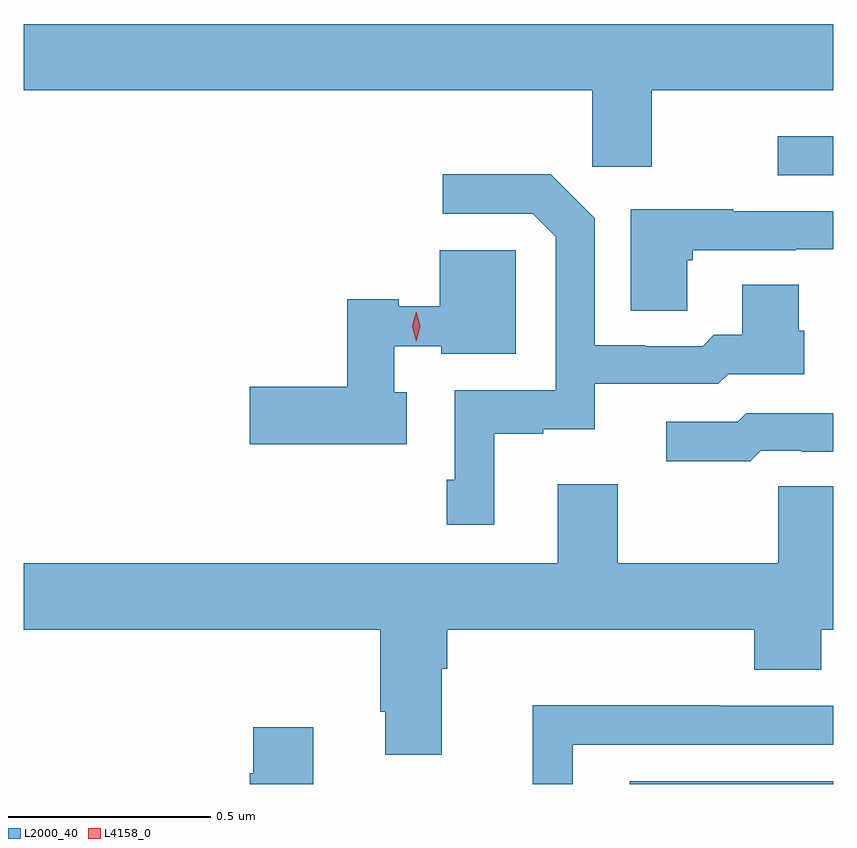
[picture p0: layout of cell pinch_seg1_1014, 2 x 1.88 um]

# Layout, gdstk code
import gdstk
lib = gdstk.Library(unit=1e-6, precision=1e-09)
def R(c, l, rs):  # rectangles x0, y0, x1, y1
    for r in rs: c.add(gdstk.rectangle(r[:2], r[2:], *l))
def P(c, l, *ps):  # polygons
    for p in ps: c.add(gdstk.Polygon(p, *l))
L2000_40 = (2000, 40)
L4158_0 = (4158, 0)

pinch_seg1_1014 = lib.new_cell('pinch_seg1_1014')
R(pinch_seg1_1014, L2000_40, [(311.907,577.991,312.41,577.998), (312.273,579.495,312.41,579.591)])
P(pinch_seg1_1014, L2000_40, [(311.961,579.704),(312.41,579.704),(312.41,579.868),(310.41,579.868),(310.41,579.704),(311.815,579.704),(311.815,579.515),(311.961,579.515)],
  [(311.572,578.856),(311.693,578.856),(311.693,578.867),(311.821,578.867),(311.821,578.979),(312.126,578.979),(312.15,579.003),(312.338,579.003),(312.338,579.11),(312.325,579.11),(312.325,579.224),(312.185,579.224),(312.185,579.1),(312.115,579.1),(312.087,579.072),(311.945,579.072),(311.945,579.075),(311.82,579.075),(311.82,579.388),(311.712,579.497),(311.445,579.497),(311.445,579.399),(311.667,579.399),(311.724,579.342),(311.724,578.964),(311.475,578.964),(311.475,578.743),(311.455,578.743),(311.455,578.631),(311.572,578.631)],
  [(312.049,579.285),(312.063,579.285),(312.063,579.309),(312.317,579.309),(312.317,579.312),(312.41,579.312),(312.41,579.405),(312.163,579.405),(312.163,579.41),(311.909,579.41),(311.909,579.16),(312.049,579.16)],
  [(311.356,578.959),(311.325,578.959),(311.325,579.072),(311.442,579.072),(311.442,579.053),(311.625,579.053),(311.625,579.309),(311.438,579.309),(311.438,579.171),(311.337,579.171),(311.337,579.188),(311.209,579.188),(311.209,578.972),(310.968,578.972),(310.968,578.83),(311.356,578.83)],
  [(312.231,578.814),(312.331,578.814),(312.331,578.811),(312.41,578.811),(312.41,578.907),(312.195,578.907),(312.174,578.886),(311.997,578.886),(311.997,578.788),(312.205,578.788)],
  [(311.443,578.276),(311.456,578.276),(311.456,578.372),(312.215,578.372),(312.215,578.273),(312.38,578.273),(312.38,578.372),(312.41,578.372),(312.41,578.726),(312.274,578.726),(312.274,578.536),(311.877,578.536),(311.877,578.731),(311.729,578.731),(311.729,578.536),(310.41,578.536),(310.41,578.372),(311.291,578.372),(311.291,578.17),(311.303,578.17),(311.303,578.063),(311.443,578.063)],
  [(311.766,578.088),(312.41,578.088),(312.41,578.184),(312.131,578.184),(312.131,578.186),(311.668,578.186),(311.668,577.991),(311.766,577.991)],
  [(311.125,578.131),(310.977,578.131),(310.977,578.018),(310.969,578.018),(310.969,577.991),(311.125,577.991)])
P(pinch_seg1_1014, L4158_0, [(311.38,579.085),(311.38,579.085),(311.37,579.121),(311.38,579.157),(311.38,579.157),(311.38,579.157),(311.39,579.121),(311.38,579.085)])

lib.write_gds('pinch_seg1_1014.gds')
